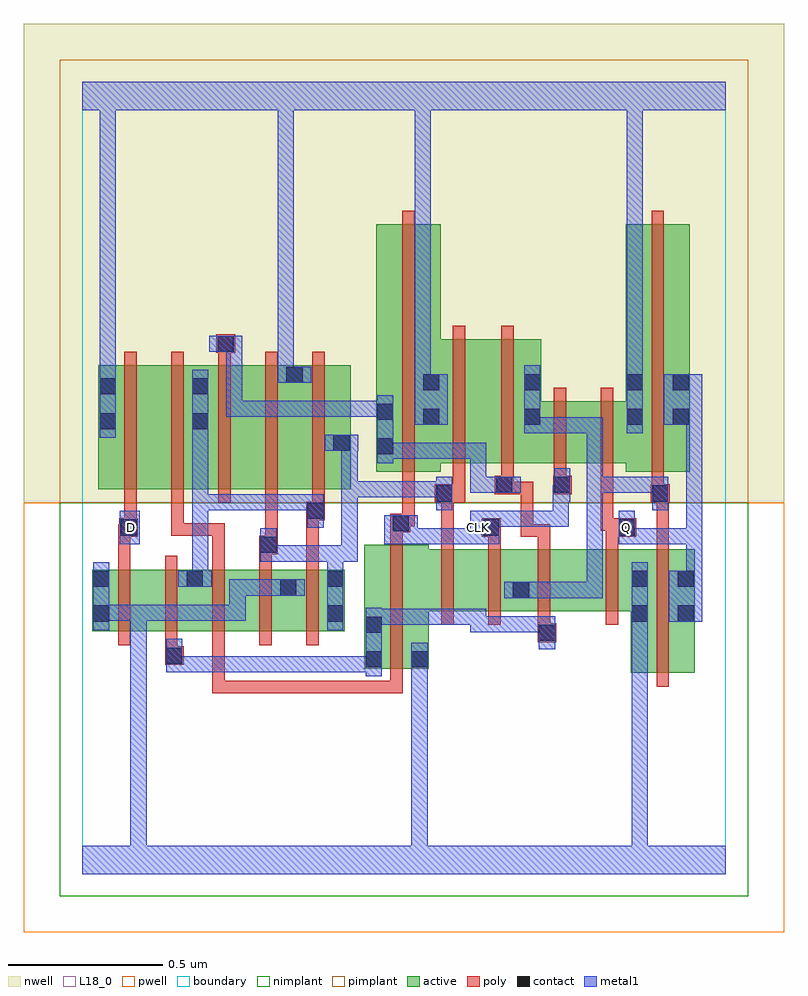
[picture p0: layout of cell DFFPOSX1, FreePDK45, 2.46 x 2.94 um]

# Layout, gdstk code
import gdstk
lib = gdstk.Library(unit=1e-6, precision=1e-09)
def R(c, l, rs):  # rectangles x0, y0, x1, y1
    for r in rs: c.add(gdstk.rectangle(r[:2], r[2:], *l))
def A(c, l, x, y, w, h, nx, ny, dx, dy):  # array of equal rectangles
    R(c, l, [(x+i*dx, y+j*dy, x+i*dx+w, y+j*dy+h) for i in range(nx) for j in range(ny)])
active = (1, 0)
pwell = (2, 0)
nwell = (3, 0)
nimplant = (4, 0)
pimplant = (5, 0)
poly = (9, 0)
contact = (10, 0)
metal1 = (11, 0)
L18_0 = (18, 0)
boundary = (235, 0)

dffposx1 = lib.new_cell('DFFPOSX1')
A(dffposx1, active, 0.032, 0.784, 0.06, 0.2, 3, 1, 0.302, 0)
R(dffposx1, active, [(1.772,0.65,1.98,1.05), (0.912,0.664,1.12,1.064), (0.912,0.664,0.972,1.064), (1.06,0.664,1.12,0.85), (1.92,0.756,1.98,1.05), (0.032,0.784,0.212,0.984), (0.212,0.784,0.394,0.984), (0.334,0.784,0.516,0.984), (0.516,0.784,0.696,0.984), (0.636,0.784,0.848,0.984), (0.788,0.784,0.848,0.984), (1.772,0.812,1.832,1.012), (1.06,0.85,1.256,1.05), (1.256,0.85,1.448,1.05), (1.388,0.85,1.636,1.05), (1.636,0.85,1.832,1.05), (1.388,0.888,1.448,1.05), (0.052,1.244,0.112,1.644), (0.052,1.244,0.232,1.644), (0.232,1.244,0.412,1.644), (0.352,1.244,0.536,1.644), (0.536,1.244,0.716,1.644), (0.656,1.244,0.868,1.644), (0.808,1.244,0.868,1.644), (0.352,1.26,0.412,1.644), (0.95,1.3,1.01,2.044), (0.95,1.3,1.158,2.1), (1.756,1.3,1.964,2.1), (1.904,1.3,1.964,2.044), (1.098,1.328,1.294,1.728), (1.294,1.328,1.484,1.728), (1.424,1.328,1.62,1.528), (1.62,1.328,1.816,1.528), (1.424,1.42,1.484,1.62), (1.756,1.42,1.816,1.62), (1.098,1.448,1.158,1.754), (0.656,1.472,0.716,1.644)])
R(dffposx1, pwell, [(-0.188,-0.188,2.268,1.2)])
R(dffposx1, nwell, [(-0.188,1.2,2.268,2.748)])
R(dffposx1, nimplant, [(-0.072,-0.072,2.152,1.2)])
R(dffposx1, pimplant, [(-0.072,1.2,2.152,2.632)])
A(dffposx1, poly, 0.116, 0.74, 0.04, 0.288, 5, 1, 0.152, 0)
A(dffposx1, poly, 0.136, 1.2, 0.04, 0.488, 5, 1, 0.152, 0)
R(dffposx1, poly, [(0.42,0.584,0.46,0.624), (0.42,0.584,0.46,0.624), (0.42,0.584,0.46,0.624), (0.42,0.584,0.46,0.624), (0.42,0.584,0.46,0.624), (0.42,0.584,0.46,0.78), (0.42,0.584,0.616,0.624), (0.576,0.584,0.616,0.624), (0.576,0.584,0.616,0.624), (0.576,0.584,0.616,0.624), (0.576,0.584,0.616,0.624), (0.576,0.584,0.616,0.624), (0.576,0.584,0.746,0.624), (0.706,0.584,0.746,0.624), (0.706,0.584,0.746,0.624), (0.706,0.584,0.746,0.624), (0.706,0.584,1.036,0.624), (0.996,0.584,1.036,0.66), (0.996,0.584,1.036,0.624), (0.996,0.584,1.036,0.624), (0.996,0.584,1.036,0.624), (1.856,0.606,1.896,1.094), (0.996,0.62,1.036,1.108), (0.268,0.676,0.328,0.736), (0.268,0.696,0.308,0.78), (1.472,0.75,1.532,0.81), (1.472,0.77,1.512,0.846), (1.16,0.806,1.2,1.094), (1.312,0.806,1.352,1.094), (1.472,0.806,1.512,1.094), (1.692,0.806,1.732,1.094), (0.116,0.988,0.156,1.13), (0.42,0.988,0.46,1.134), (0.572,0.988,0.612,1.074), (0.724,0.988,0.764,1.184), (0.572,1.034,0.632,1.094), (0.592,1.054,0.632,1.094), (0.592,1.054,0.632,1.094), (0.592,1.054,0.632,1.24), (1.16,1.054,1.2,1.24), (1.312,1.054,1.352,1.13), (1.472,1.054,1.512,1.13), (1.692,1.054,1.732,1.13), (1.856,1.054,1.896,1.24), (0.996,1.068,1.036,1.144), (0.116,1.09,0.16,1.13), (0.12,1.09,0.16,1.13), (0.12,1.09,0.18,1.15), (1.292,1.09,1.352,1.15), (1.418,1.09,1.458,1.13), (1.418,1.09,1.512,1.13), (1.418,1.09,1.458,1.268), (1.472,1.09,1.512,1.13), (1.692,1.09,1.79,1.15), (0.288,1.094,0.328,1.134), (0.288,1.094,0.328,1.134), (0.288,1.094,0.328,1.134), (0.288,1.094,0.328,1.134), (0.288,1.094,0.328,1.134), (0.288,1.094,0.328,1.24), (0.288,1.094,0.46,1.134), (0.42,1.094,0.46,1.134), (0.996,1.104,1.06,1.164), (0.136,1.11,0.176,1.24), (1.676,1.11,1.716,1.324), (1.676,1.11,1.732,1.15), (1.692,1.11,1.732,1.15), (1.02,1.124,1.06,1.164), (1.02,1.124,1.074,1.164), (1.034,1.124,1.074,1.296), (0.724,1.144,0.764,1.184), (0.724,1.144,0.764,1.184), (0.724,1.144,0.784,1.204), (0.744,1.164,0.784,1.24), (1.14,1.2,1.238,1.26), (1.16,1.2,1.2,1.24), (1.16,1.2,1.2,1.24), (1.838,1.2,1.898,1.26), (1.856,1.2,1.896,1.24), (1.856,1.2,1.896,1.24), (1.198,1.22,1.238,1.324), (1.84,1.22,1.88,1.296), (1.334,1.228,1.394,1.288), (1.354,1.228,1.458,1.268), (1.418,1.228,1.458,1.268), (1.522,1.228,1.582,1.288), (1.354,1.248,1.394,1.324), (1.524,1.248,1.564,1.324), (1.034,1.256,1.074,2.144), (1.84,1.256,1.88,2.144), (1.198,1.284,1.238,1.772), (1.354,1.284,1.394,1.772), (1.524,1.284,1.564,1.572), (1.676,1.284,1.716,1.572), (0.44,1.648,0.48,1.724), (0.434,1.684,0.494,1.744)])
R(dffposx1, contact, [(0.916,0.668,0.968,0.72), (1.064,0.668,1.116,0.72), (0.272,0.68,0.324,0.732), (1.476,0.754,1.528,0.806), (0.916,0.78,0.968,0.832), (0.036,0.816,0.088,0.868), (0.792,0.816,0.844,0.868), (1.776,0.816,1.828,0.868), (1.924,0.816,1.976,0.868), (1.392,0.892,1.444,0.944), (0.64,0.9,0.692,0.952), (0.036,0.928,0.088,0.98), (0.338,0.928,0.39,0.98), (0.792,0.928,0.844,0.98), (1.776,0.928,1.828,0.98), (1.924,0.928,1.976,0.98), (0.576,1.038,0.628,1.09), (0.124,1.094,0.176,1.146), (1.296,1.094,1.348,1.146), (1.734,1.094,1.786,1.146), (1.004,1.108,1.056,1.16), (0.728,1.148,0.78,1.2), (1.144,1.204,1.196,1.256), (1.842,1.204,1.894,1.256), (1.338,1.232,1.39,1.284), (1.526,1.232,1.578,1.284), (0.954,1.356,1.006,1.408), (0.812,1.368,0.864,1.42), (0.056,1.438,0.108,1.49), (0.356,1.438,0.408,1.49), (1.102,1.452,1.154,1.504), (1.428,1.452,1.48,1.504), (1.76,1.452,1.812,1.504), (1.908,1.452,1.96,1.504), (0.954,1.468,1.006,1.52), (0.056,1.55,0.108,1.602), (0.356,1.55,0.408,1.602), (1.102,1.564,1.154,1.616), (1.428,1.564,1.48,1.616), (1.76,1.564,1.812,1.616), (1.908,1.564,1.96,1.616), (0.66,1.588,0.712,1.64), (0.438,1.688,0.49,1.74)])
R(dffposx1, metal1, [(0,0,2.08,0.092), (0.156,0.04,0.208,0.092), (0.156,0.04,0.208,0.092), (0.156,0.04,0.208,0.092), (0.156,0.04,0.208,0.092), (0.156,0.04,0.208,0.092), (0.156,0.04,0.208,0.092), (0.156,0.04,0.208,0.092), (0.156,0.04,0.208,0.092), (0.156,0.04,0.208,0.092), (0.156,0.04,0.208,0.092), (0.156,0.04,0.208,0.092), (0.156,0.04,0.208,0.092), (0.156,0.04,0.208,0.092), (0.156,0.04,0.208,0.092), (0.156,0.04,0.208,0.87), (1.064,0.04,1.116,0.092), (1.064,0.04,1.116,0.092), (1.064,0.04,1.116,0.692), (1.776,0.04,1.828,0.84), (0.916,0.64,0.968,0.86), (1.064,0.64,1.116,0.692), (1.064,0.64,1.116,0.692), (1.064,0.64,1.116,0.692), (1.064,0.64,1.116,0.692), (1.064,0.64,1.116,0.692), (1.064,0.64,1.116,0.692), (1.064,0.64,1.116,0.692), (1.064,0.64,1.116,0.692), (1.064,0.64,1.116,0.692), (1.064,0.64,1.116,0.692), (1.064,0.64,1.116,0.748), (0.272,0.652,0.324,0.704), (0.272,0.652,0.324,0.704), (0.272,0.652,0.324,0.76), (0.272,0.652,0.518,0.704), (0.466,0.652,0.518,0.704), (0.466,0.652,0.518,0.704), (0.466,0.652,0.518,0.704), (0.466,0.652,0.638,0.704), (0.586,0.652,0.638,0.704), (0.586,0.652,0.638,0.704), (0.586,0.652,0.638,0.704), (0.586,0.652,0.83,0.704), (0.778,0.652,0.83,0.704), (0.778,0.652,0.83,0.704), (0.778,0.652,0.83,0.704), (0.778,0.652,0.968,0.704), (1.476,0.726,1.528,0.834), (1.254,0.782,1.418,0.834), (1.254,0.782,1.306,0.858), (1.366,0.782,1.418,0.834), (1.366,0.782,1.528,0.834), (1.476,0.782,1.528,0.834), (1.476,0.782,1.528,0.834), (0.036,0.788,0.088,1.008), (0.792,0.788,0.844,1.008), (1.776,0.788,1.828,0.84), (1.776,0.788,1.828,0.84), (1.776,0.788,1.828,0.84), (1.776,0.788,1.828,0.84), (1.776,0.788,1.828,0.84), (1.776,0.788,1.828,0.84), (1.776,0.788,1.828,0.84), (1.776,0.788,1.828,0.84), (1.776,0.788,1.828,0.84), (1.776,0.788,1.828,0.84), (1.776,0.788,1.828,0.84), (1.776,0.788,1.828,0.84), (1.776,0.788,1.828,1.008), (0.916,0.806,1.002,0.858), (0.95,0.806,1.002,0.858), (0.95,0.806,1.194,0.858), (1.142,0.806,1.194,0.858), (1.142,0.806,1.194,0.858), (1.142,0.806,1.194,0.858), (1.142,0.806,1.306,0.858), (1.896,0.816,2.004,0.98), (0.036,0.818,0.088,0.87), (0.036,0.818,0.088,0.87), (0.036,0.818,0.208,0.87), (0.156,0.818,0.208,0.87), (0.156,0.818,0.208,0.87), (0.156,0.818,0.208,0.87), (0.156,0.818,0.208,0.87), (0.156,0.818,0.208,0.87), (0.156,0.818,0.318,0.87), (0.266,0.818,0.318,0.87), (0.266,0.818,0.318,0.87), (0.266,0.818,0.318,0.87), (0.266,0.818,0.434,0.87), (0.382,0.818,0.434,0.87), (0.382,0.818,0.528,0.87), (0.476,0.818,0.528,0.87), (0.476,0.818,0.528,0.952), (1.364,0.892,1.472,0.944), (1.42,0.892,1.608,0.944), (1.556,0.892,1.608,0.944), (1.556,0.892,1.682,0.944), (1.63,0.892,1.682,0.944), (1.63,0.892,1.682,1.284), (0.476,0.9,0.528,0.952), (0.476,0.9,0.664,0.952), (0.612,0.9,0.664,0.952), (0.612,0.9,0.664,0.952), (0.612,0.9,0.72,0.952), (0.31,0.928,0.418,0.98), (0.356,0.928,0.408,1.228), (1.952,0.928,2.004,1.118), (0.792,0.956,0.844,1.062), (0.576,1.01,0.628,1.118), (0.576,1.01,0.67,1.062), (0.618,1.01,0.67,1.062), (0.618,1.01,0.844,1.062), (0.792,1.01,0.844,1.062), (0.792,1.01,0.844,1.062), (0.792,1.01,0.89,1.062), (0.838,1.01,0.89,1.27), (0.122,1.066,0.186,1.174), (0.976,1.066,1.084,1.16), (1.032,1.066,1.194,1.118), (1.142,1.066,1.194,1.118), (1.142,1.066,1.194,1.118), (1.142,1.066,1.194,1.118), (1.142,1.066,1.306,1.118), (1.254,1.066,1.306,1.118), (1.254,1.066,1.306,1.118), (1.254,1.066,1.348,1.174), (1.734,1.066,1.786,1.174), (1.734,1.066,1.792,1.118), (1.74,1.066,1.792,1.118), (1.74,1.066,2.004,1.118), (1.952,1.066,2.004,1.504), (1.952,1.066,2.004,1.118), (1.952,1.066,2.004,1.118), (1.952,1.066,2.004,1.118), (1.952,1.066,2.004,1.118), (1.952,1.066,2.004,1.118), (0.728,1.12,0.78,1.228), (1.296,1.122,1.572,1.174), (1.52,1.122,1.572,1.174), (1.52,1.122,1.572,1.256), (0.356,1.176,0.408,1.228), (0.356,1.176,0.408,1.228), (0.356,1.176,0.408,1.228), (0.356,1.176,0.518,1.228), (0.356,1.176,0.408,1.462), (0.466,1.176,0.518,1.228), (0.466,1.176,0.518,1.228), (0.466,1.176,0.518,1.228), (0.466,1.176,0.638,1.228), (0.586,1.176,0.638,1.228), (0.586,1.176,0.638,1.228), (0.586,1.176,0.638,1.228), (0.586,1.176,0.78,1.228), (1.144,1.176,1.196,1.284), (1.842,1.176,1.894,1.284), (1.52,1.204,1.572,1.256), (1.52,1.204,1.578,1.256), (1.526,1.204,1.578,1.312), (0.838,1.218,0.89,1.27), (0.838,1.218,1.006,1.27), (0.838,1.218,0.89,1.42), (0.954,1.218,1.006,1.27), (0.954,1.218,1.006,1.27), (0.954,1.218,1.006,1.27), (0.954,1.218,1.196,1.27), (1.144,1.218,1.196,1.27), (1.144,1.218,1.196,1.27), (1.254,1.232,1.306,1.284), (1.254,1.232,1.362,1.284), (1.254,1.232,1.306,1.394), (1.31,1.232,1.418,1.284), (1.63,1.232,1.682,1.284), (1.63,1.232,1.682,1.284), (1.63,1.232,1.682,1.284), (1.63,1.232,1.784,1.284), (1.63,1.232,1.682,1.476), (1.732,1.232,1.784,1.284), (1.732,1.232,1.792,1.284), (1.74,1.232,1.792,1.284), (1.74,1.232,1.894,1.284), (0.954,1.328,1.006,1.548), (0.954,1.342,1.006,1.394), (0.954,1.342,1.006,1.394), (0.954,1.342,1.194,1.394), (1.142,1.342,1.194,1.394), (1.142,1.342,1.194,1.394), (1.142,1.342,1.194,1.394), (1.142,1.342,1.306,1.394), (1.254,1.342,1.306,1.394), (0.784,1.368,0.892,1.42), (0.056,1.41,0.108,1.63), (0.356,1.41,0.408,1.63), (1.428,1.424,1.48,1.644), (1.428,1.424,1.674,1.476), (1.622,1.424,1.674,1.476), (1.622,1.424,1.682,1.476), (1.63,1.424,1.682,1.476), (1.76,1.424,1.812,1.644), (1.074,1.452,1.182,1.616), (1.88,1.452,2.004,1.616), (0.466,1.478,0.518,1.53), (0.466,1.478,0.518,1.53), (0.466,1.478,0.518,1.53), (0.466,1.478,0.67,1.53), (0.466,1.478,0.518,1.74), (0.618,1.478,0.67,1.53), (0.618,1.478,0.67,1.53), (0.618,1.478,0.67,1.53), (0.618,1.478,0.67,1.53), (0.618,1.478,0.67,1.53), (0.618,1.478,0.858,1.53), (0.806,1.478,0.858,1.53), (0.806,1.478,0.858,1.53), (0.806,1.478,0.858,1.53), (0.806,1.478,1.006,1.53), (0.954,1.478,1.006,1.53), (0.954,1.478,1.006,1.548), (1.074,1.564,1.126,2.52), (0.056,1.578,0.108,1.63), (0.056,1.578,0.108,1.63), (0.056,1.578,0.108,1.63), (0.056,1.578,0.108,1.63), (0.056,1.578,0.108,2.52), (0.632,1.588,0.684,1.64), (0.632,1.588,0.684,1.64), (0.632,1.588,0.684,1.64), (0.632,1.588,0.684,1.64), (0.632,1.588,0.684,1.64), (0.632,1.588,0.684,1.64), (0.632,1.588,0.684,1.64), (0.632,1.588,0.684,1.64), (0.632,1.588,0.684,1.64), (0.632,1.588,0.684,1.64), (0.632,1.588,0.684,1.64), (0.632,1.588,0.684,1.64), (0.632,1.588,0.684,1.64), (0.632,1.588,0.684,1.64), (0.632,1.588,0.684,1.64), (0.632,1.588,0.684,1.64), (0.632,1.588,0.74,1.64), (0.632,1.588,0.684,2.52), (1.76,1.592,1.812,2.52), (0.41,1.688,0.518,1.74), (0.466,1.688,0.518,1.74), (0.466,1.688,0.518,1.74), (0,2.468,2.08,2.56), (0.056,2.468,0.108,2.52), (0.056,2.468,0.108,2.52), (0.056,2.468,0.108,2.52), (0.056,2.468,0.108,2.52), (0.056,2.468,0.108,2.52), (0.056,2.468,0.108,2.52), (0.056,2.468,0.108,2.52), (0.056,2.468,0.108,2.52), (0.056,2.468,0.108,2.52), (0.056,2.468,0.108,2.52), (0.056,2.468,0.108,2.52), (0.056,2.468,0.108,2.52), (1.074,2.468,1.126,2.52), (1.074,2.468,1.126,2.52), (1.074,2.468,1.126,2.52), (1.074,2.468,1.126,2.52), (1.074,2.468,1.126,2.52), (1.074,2.468,1.126,2.52), (1.074,2.468,1.126,2.52), (1.074,2.468,1.126,2.52), (1.76,2.468,1.812,2.52), (1.76,2.468,1.812,2.52), (1.76,2.468,1.812,2.52), (1.76,2.468,1.812,2.52), (1.76,2.468,1.812,2.52), (1.76,2.468,1.812,2.52), (1.76,2.468,1.812,2.52), (1.76,2.468,1.812,2.52)])
R(dffposx1, L18_0, [(0,0,2.08,0.092), (0.156,0.04,0.208,0.092), (0.156,0.04,0.208,0.092), (0.156,0.04,0.208,0.092), (0.156,0.04,0.208,0.092), (0.156,0.04,0.208,0.092), (0.156,0.04,0.208,0.092), (0.156,0.04,0.208,0.092), (0.156,0.04,0.208,0.092), (0.156,0.04,0.208,0.092), (0.156,0.04,0.208,0.092), (0.156,0.04,0.208,0.092), (0.156,0.04,0.208,0.092), (0.156,0.04,0.208,0.092), (0.156,0.04,0.208,0.092), (0.156,0.04,0.208,0.87), (1.064,0.04,1.116,0.092), (1.064,0.04,1.116,0.092), (1.064,0.04,1.116,0.692), (1.776,0.04,1.828,0.84), (1.064,0.64,1.116,0.692), (1.064,0.64,1.116,0.692), (1.064,0.64,1.116,0.692), (1.064,0.64,1.116,0.692), (1.064,0.64,1.116,0.692), (1.064,0.64,1.116,0.692), (1.064,0.64,1.116,0.692), (1.064,0.64,1.116,0.692), (1.064,0.64,1.116,0.692), (1.064,0.64,1.116,0.692), (1.064,0.64,1.116,0.748), (0.036,0.788,0.088,1.008), (1.776,0.788,1.828,1.008), (1.776,0.788,1.828,0.84), (1.776,0.788,1.828,0.84), (1.776,0.788,1.828,0.84), (1.776,0.788,1.828,0.84), (1.776,0.788,1.828,0.84), (1.776,0.788,1.828,0.84), (1.776,0.788,1.828,0.84), (1.776,0.788,1.828,0.84), (1.776,0.788,1.828,0.84), (1.776,0.788,1.828,0.84), (1.776,0.788,1.828,0.84), (1.776,0.788,1.828,0.84), (1.896,0.816,2.004,0.98), (0.036,0.818,0.088,0.87), (0.036,0.818,0.088,0.87), (0.036,0.818,0.208,0.87), (0.156,0.818,0.208,0.87), (0.156,0.818,0.208,0.87), (0.156,0.818,0.208,0.87), (0.156,0.818,0.208,0.87), (0.156,0.818,0.208,0.87), (0.156,0.818,0.318,0.87), (0.266,0.818,0.318,0.87), (0.266,0.818,0.318,0.87), (0.266,0.818,0.318,0.87), (0.266,0.818,0.434,0.87), (0.382,0.818,0.434,0.87), (0.382,0.818,0.528,0.87), (0.476,0.818,0.528,0.87), (0.476,0.818,0.528,0.952), (0.476,0.9,0.528,0.952), (0.476,0.9,0.664,0.952), (0.612,0.9,0.664,0.952), (0.612,0.9,0.664,0.952), (0.612,0.9,0.72,0.952), (1.952,0.928,2.004,1.118), (0.122,1.066,0.186,1.174), (0.976,1.066,1.084,1.16), (1.032,1.066,1.194,1.118), (1.142,1.066,1.194,1.118), (1.142,1.066,1.194,1.118), (1.142,1.066,1.194,1.118), (1.142,1.066,1.306,1.118), (1.254,1.066,1.306,1.118), (1.254,1.066,1.306,1.118), (1.254,1.066,1.348,1.174), (1.734,1.066,1.786,1.174), (1.734,1.066,1.792,1.118), (1.74,1.066,1.792,1.118), (1.74,1.066,2.004,1.118), (1.952,1.066,2.004,1.118), (1.952,1.066,2.004,1.118), (1.952,1.066,2.004,1.118), (1.952,1.066,2.004,1.118), (1.952,1.066,2.004,1.118), (1.952,1.066,2.004,1.504), (0.134,1.094,0.186,1.146), (1.254,1.094,1.306,1.146), (1.734,1.094,1.786,1.146), (1.296,1.122,1.572,1.174), (1.52,1.122,1.572,1.174), (1.52,1.122,1.572,1.256), (1.52,1.204,1.572,1.256), (1.52,1.204,1.578,1.256), (1.526,1.204,1.578,1.312), (0.056,1.41,0.108,1.63), (1.76,1.424,1.812,1.644), (1.074,1.452,1.182,1.616), (1.88,1.452,2.004,1.616), (1.074,1.564,1.126,2.52), (0.056,1.578,0.108,1.63), (0.056,1.578,0.108,1.63), (0.056,1.578,0.108,1.63), (0.056,1.578,0.108,1.63), (0.056,1.578,0.108,2.52), (0.632,1.588,0.684,1.64), (0.632,1.588,0.684,1.64), (0.632,1.588,0.684,1.64), (0.632,1.588,0.684,1.64), (0.632,1.588,0.684,1.64), (0.632,1.588,0.684,1.64), (0.632,1.588,0.684,1.64), (0.632,1.588,0.684,1.64), (0.632,1.588,0.684,1.64), (0.632,1.588,0.684,1.64), (0.632,1.588,0.684,1.64), (0.632,1.588,0.684,1.64), (0.632,1.588,0.684,1.64), (0.632,1.588,0.684,1.64), (0.632,1.588,0.684,1.64), (0.632,1.588,0.684,1.64), (0.632,1.588,0.74,1.64), (0.632,1.588,0.684,2.52), (1.76,1.592,1.812,2.52), (0,2.468,2.08,2.56), (0.056,2.468,0.108,2.52), (0.056,2.468,0.108,2.52), (0.056,2.468,0.108,2.52), (0.056,2.468,0.108,2.52), (0.056,2.468,0.108,2.52), (0.056,2.468,0.108,2.52), (0.056,2.468,0.108,2.52), (0.056,2.468,0.108,2.52), (0.056,2.468,0.108,2.52), (0.056,2.468,0.108,2.52), (0.056,2.468,0.108,2.52), (0.056,2.468,0.108,2.52), (1.074,2.468,1.126,2.52), (1.074,2.468,1.126,2.52), (1.074,2.468,1.126,2.52), (1.074,2.468,1.126,2.52), (1.074,2.468,1.126,2.52), (1.074,2.468,1.126,2.52), (1.074,2.468,1.126,2.52), (1.074,2.468,1.126,2.52), (1.76,2.468,1.812,2.52), (1.76,2.468,1.812,2.52), (1.76,2.468,1.812,2.52), (1.76,2.468,1.812,2.52), (1.76,2.468,1.812,2.52), (1.76,2.468,1.812,2.52), (1.76,2.468,1.812,2.52), (1.76,2.468,1.812,2.52)])
R(dffposx1, boundary, [(0,0,2.08,2.56)])
dffposx1.add(gdstk.Label('CLK', (1.28,1.12), layer=11, texttype=0))
dffposx1.add(gdstk.Label('D', (0.16,1.12), layer=11, texttype=0))
dffposx1.add(gdstk.Label('Q', (1.76,1.12), layer=11, texttype=0))

lib.write_gds('DFFPOSX1.gds')
